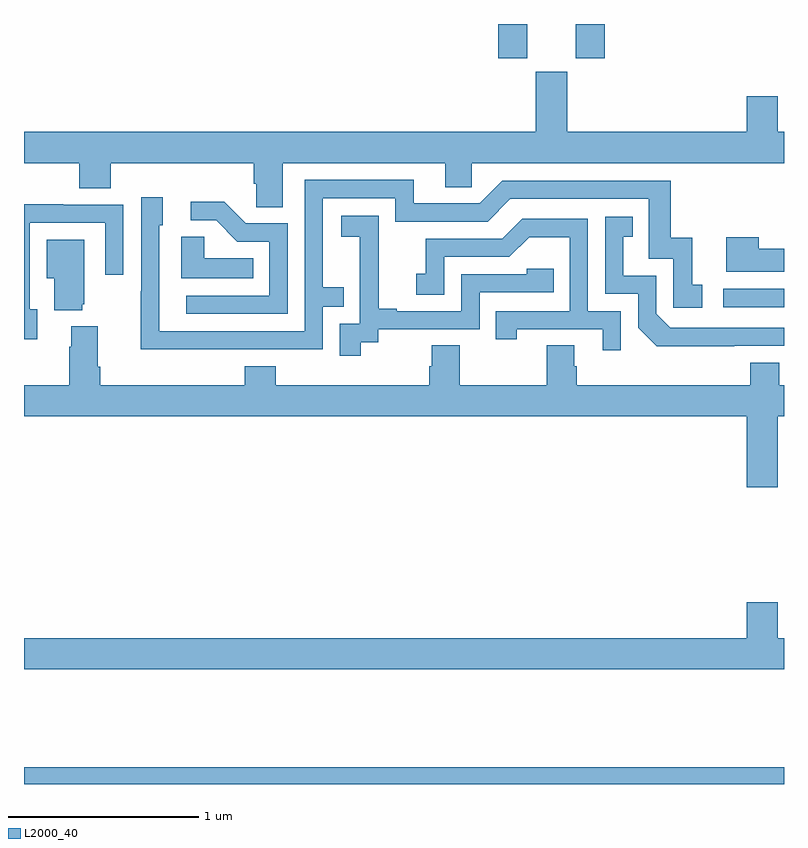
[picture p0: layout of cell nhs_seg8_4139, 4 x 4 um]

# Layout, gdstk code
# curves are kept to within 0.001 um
import gdstk
lib = gdstk.Library(unit=1e-6, precision=1e-09)
def R(c, l, rs):  # rectangles x0, y0, x1, y1
    for r in rs: c.add(gdstk.rectangle(r[:2], r[2:], *l))
def P(c, l, *ps):  # polygons
    for p in ps: c.add(gdstk.Polygon(p, *l))
L2000_40 = (2000, 40)

nhs_seg8_4139 = lib.new_cell('nhs_seg8_4139')
R(nhs_seg8_4139, L2000_40, [(365,1111.9,369,1111.988), (368.679,1114.41,369,1114.506), (367.496,1115.721,367.648,1115.9), (367.904,1115.721,368.057,1115.9)])
P(nhs_seg8_4139, L2000_40, [(366.361,1115.168),(367.217,1115.168),(367.217,1115.041),(367.356,1115.041),(367.356,1115.168),(369,1115.168),(369,1115.332),(368.968,1115.332),(368.968,1115.521),(368.804,1115.521),(368.804,1115.332),(367.858,1115.332),(367.858,1115.649),(367.694,1115.649),(367.694,1115.332),(365,1115.332),(365,1115.168),(365.291,1115.168),(365.291,1115.035),(365.456,1115.035),(365.456,1115.168),(366.209,1115.168),(366.209,1115.059),(366.222,1115.059),(366.222,1114.936),(366.361,1114.936)],
  [(366.077,1114.188),(366.573,1114.188),(366.573,1114.413),(366.683,1114.413),(366.683,1114.514),(366.573,1114.514),(366.573,1114.983),(366.954,1114.983),(366.954,1114.86),(367.44,1114.86),(367.56,1114.98),(368.289,1114.98),(368.289,1114.665),(368.418,1114.665),(368.418,1114.407),(368.569,1114.407),(368.569,1114.527),(368.516,1114.527),(368.516,1114.774),(368.405,1114.774),(368.405,1115.076),(367.518,1115.076),(367.398,1114.956),(367.051,1114.956),(367.051,1115.079),(366.477,1115.079),(366.477,1114.284),(365.712,1114.284),(365.712,1114.842),(365.731,1114.842),(365.731,1114.987),(365.616,1114.987),(365.616,1114.493),(365.614,1114.493),(365.614,1114.187)],
  [(366.387,1114.851),(366.168,1114.851),(366.055,1114.964),(365.877,1114.964),(365.877,1114.866),(366.011,1114.866),(366.122,1114.755),(366.291,1114.755),(366.291,1114.47),(365.853,1114.47),(365.853,1114.374),(366.387,1114.374)],
  [(365.071,1114.398),(365.031,1114.398),(365.031,1114.854),(365.427,1114.854),(365.427,1114.581),(365.523,1114.581),(365.523,1114.95),(365.207,1114.95),(365.207,1114.952),(365,1114.952),(365,1114.242),(365.071,1114.242)],
  [(366.772,1114.225),(366.864,1114.225),(366.864,1114.293),(367.398,1114.293),(367.398,1114.488),(367.787,1114.488),(367.787,1114.611),(367.647,1114.611),(367.647,1114.584),(367.302,1114.584),(367.302,1114.389),(366.961,1114.389),(366.961,1114.402),(366.866,1114.402),(366.866,1114.685),(366.867,1114.685),(366.867,1114.891),(366.669,1114.891),(366.669,1114.781),(366.767,1114.781),(366.767,1114.553),(366.768,1114.553),(366.768,1114.323),(366.663,1114.323),(366.663,1114.155),(366.772,1114.155)],
  [(368.738,1114.206),(369,1114.206),(369,1114.302),(368.4,1114.302),(368.328,1114.374),(368.328,1114.575),(368.155,1114.575),(368.155,1114.779),(368.204,1114.779),(368.204,1114.885),(368.058,1114.885),(368.058,1114.479),(368.232,1114.479),(368.232,1114.302),(368.33,1114.205)],
  [(368.142,1114.389),(367.968,1114.389),(367.968,1114.875),(367.622,1114.875),(367.517,1114.77),(367.114,1114.77),(367.114,1114.585),(367.065,1114.585),(367.065,1114.476),(367.212,1114.476),(367.212,1114.674),(367.554,1114.674),(367.658,1114.778),(367.872,1114.778),(367.872,1114.389),(367.483,1114.389),(367.483,1114.242),(367.594,1114.242),(367.594,1114.293),(368.045,1114.293),(368.045,1114.182),(368.142,1114.182)],
  [(366.206,1114.666),(365.949,1114.666),(365.949,1114.781),(365.828,1114.781),(365.828,1114.562),(366.206,1114.562)],
  [(369,1114.717),(368.867,1114.717),(368.867,1114.777),(368.696,1114.777),(368.696,1114.595),(369,1114.595)],
  [(365.306,1114.425),(365.317,1114.425),(365.317,1114.765),(365.12,1114.765),(365.12,1114.562),(365.159,1114.562),(365.159,1114.394),(365.306,1114.394)],
  [(368.968,1113.836),(369,1113.836),(369,1114),(368.974,1114),(368.974,1114.117),(368.822,1114.117),(368.822,1114),(367.91,1114),(367.91,1114.098),(367.897,1114.098),(367.897,1114.208),(367.75,1114.208),(367.75,1114),(367.293,1114),(367.293,1114.208),(367.145,1114.208),(367.145,1114.098),(367.133,1114.098),(367.133,1114),(366.326,1114),(366.326,1114.099),(366.161,1114.099),(366.161,1114),(365.402,1114),(365.402,1114.096),(365.389,1114.096),(365.389,1114.309),(365.249,1114.309),(365.249,1114.202),(365.237,1114.202),(365.237,1114),(365,1114),(365,1113.836),(368.804,1113.836),(368.804,1113.462),(368.968,1113.462)],
  [(369,1112.668),(368.968,1112.668),(368.968,1112.857),(368.804,1112.857),(368.804,1112.668),(365,1112.668),(365,1112.504),(369,1112.504)])

lib.write_gds('nhs_seg8_4139.gds')
